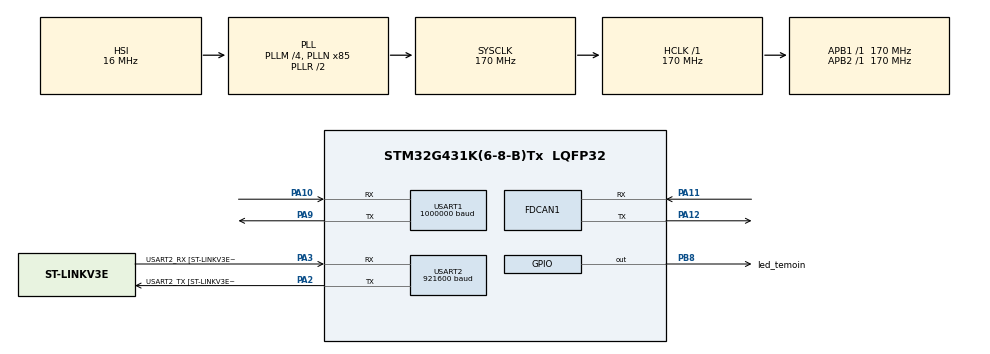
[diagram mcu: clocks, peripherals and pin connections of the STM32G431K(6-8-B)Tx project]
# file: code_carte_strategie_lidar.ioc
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Dma.Request0=USART1_RX
Dma.USART1_RX.0.Direction=DMA_PERIPH_TO_MEMORY
Dma.USART1_RX.0.EventEnable=DISABLE
Dma.USART1_RX.0.Instance=DMA1_Channel1
Dma.USART1_RX.0.MemDataAlignment=DMA_MDATAALIGN_BYTE
Dma.USART1_RX.0.MemInc=DMA_MINC_ENABLE
Dma.USART1_RX.0.Mode=DMA_CIRCULAR
Dma.USART1_RX.0.PeriphDataAlignment=DMA_PDATAALIGN_BYTE
Dma.USART1_RX.0.PeriphInc=DMA_PINC_DISABLE
Dma.USART1_RX.0.Polarity=HAL_DMAMUX_REQ_GEN_RISING
Dma.USART1_RX.0.Priority=DMA_PRIORITY_VERY_HIGH
Dma.USART1_RX.0.RequestNumber=1
Dma.USART1_RX.0.SignalID=NONE
Dma.USART1_RX.0.SyncEnable=DISABLE
Dma.USART1_RX.0.SyncPolarity=HAL_DMAMUX_SYNC_NO_EVENT
Dma.USART1_RX.0.SyncRequestNumber=1
Dma.USART1_RX.0.SyncSignalID=NONE
FDCAN1.CalculateBaudRateNominal=1000000
FDCAN1.CalculateTimeBitNominal=1000
FDCAN1.CalculateTimeQuantumNominal=100.0
FDCAN1.NominalPrescaler=17
FDCAN1.NominalTimeSeg1=7
FDCAN1.NominalTimeSeg2=2
Mcu.Family=STM32G4
Mcu.Name=STM32G431K(6-8-B)Tx
Mcu.Package=LQFP32
NVIC.DMA1_Channel1_IRQn=true\:0\:0\:false\:false\:true\:false\:true\:true
NVIC.FDCAN1_IT0_IRQn=true\:0\:0\:false\:false\:true\:true\:true\:true
NVIC.PriorityGroup=NVIC_PRIORITYGROUP_4
NVIC.USART1_IRQn=true\:0\:0\:false\:false\:true\:true\:true\:true
NVIC.USART2_IRQn=true\:0\:0\:false\:false\:true\:true\:true\:true
PA10.Mode=Asynchronous
PA10.Signal=USART1_RX
PA11.Mode=FDCAN_Activate
PA11.Signal=FDCAN1_RX
PA12.Mode=FDCAN_Activate
PA12.Signal=FDCAN1_TX
PA13.GPIO_Label=T_SWDIO
PA13.Mode=Serial_Wire
PA13.Signal=SYS_JTMS-SWDIO
PA14.GPIO_Label=T_SWCLK
PA14.Mode=Serial_Wire
PA14.Signal=SYS_JTCK-SWCLK
PA2.GPIO_Label=USART2_TX [ST-LINKV3E_VCP_RX]
PA2.Mode=Asynchronous
PA2.Signal=USART2_TX
PA3.GPIO_Label=USART2_RX [ST-LINKV3E_VCP_TX]
PA3.Mode=Asynchronous
PA3.Signal=USART2_RX
PA9.Mode=Asynchronous
PA9.Signal=USART1_TX
PB3.GPIO_Label=T_SWO
PB3.Signal=SYS_JTDO-SWO
PB8-BOOT0.GPIO_Label=led_temoin
PB8-BOOT0.Signal=GPIO_Output
ProjectManager.HeapSize=0x200
ProjectManager.StackSize=0x400
ProjectManager.TargetToolchain=STM32CubeIDE
RCC.ADC12Freq_Value=170000000
RCC.AHBFreq_Value=170000000
RCC.APB1Freq_Value=170000000
RCC.APB1TimFreq_Value=170000000
RCC.APB2Freq_Value=170000000
RCC.APB2TimFreq_Value=170000000
RCC.CortexFreq_Value=170000000
RCC.EXTERNAL_CLOCK_VALUE=12288000
RCC.HCLKFreq_Value=170000000
RCC.HSE_VALUE=8000000
RCC.HSI48_VALUE=48000000
RCC.HSI_VALUE=16000000
RCC.LSE_VALUE=32768
RCC.PLLM=RCC_PLLM_DIV4
RCC.PLLN=85
RCC.SYSCLKFreq_VALUE=170000000
RCC.SYSCLKSource=RCC_SYSCLKSOURCE_PLLCLK
RCC.USBFreq_Value=170000000
RCC.VCOOutputFreq_Value=340000000
USART1.BaudRate=1000000
USART1.SwapParam=ADVFEATURE_SWAP_ENABLE
USART1.VirtualMode-Asynchronous=VM_ASYNC
USART2.BaudRate=921600
USART2.VirtualMode-Asynchronous=VM_ASYNC
USART2.WordLength=WORDLENGTH_8B
VP_SYS_VS_DBSignals.Mode=DisableDeadBatterySignals
board=NUCLEO-G431KB

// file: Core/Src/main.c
/* USER CODE BEGIN Header */
/**
 ******************************************************************************
 * @file           : main.c
 * @brief          : Main program body
 ******************************************************************************
 * @attention
 *
 * Copyright (c) 2024 STMicroelectronics.
 * All rights reserved.
 *
 * This software is licensed under terms that can be found in the LICENSE file
 * in the root directory of this software component.
 * If no LICENSE file comes with this software, it is provided AS-IS.
 *
 ******************************************************************************
 */
/* USER CODE END Header */
#include "main.h"
#include "dma.h"
#include "fdcan.h"
#include "usart.h"
#include "gpio.h"

/* USER CODE BEGIN Includes */
#include <stdio.h>
#include <stdbool.h>
#include <lidar.h>
#include <ihm.h>
#include "test.h"
#include "deplacement.h"
#include "utils.h"
#include "conduite_autonome.h"
/* USER CODE END Includes */

/* USER CODE BEGIN PD */
#define CAN_ID_START_AUTONOMOUS_DRIVING 0x500
#define CAN_ID_STOP_AUTONOMOUS_DRIVING 0x501
#define CAN_ID_FOURCHE_OPTIQUE 27
#define CAN_ID_START_AUTONOMOUS_DRIVING 0x500
#define CAN_ID_STOP_AUTONOMOUS_DRIVING 0x501
#define CAN_ID_AUGMENTER_VITESSE_MOYENNE 0x300
#define CAN_ID_DIMINUER_VITESSE_MOYENNE 0x301
#define CAN_ID_TOF_LEFT_SENSOR 93
#define CAN_ID_TOF_RIGHT_SENSOR 92
#undef TESTS_COMPOSANTS
#undef PRINT_LIDAR_MEASURES
#undef PRINT_HERKULEX_SPEED
#undef DEBUG_CAPTEUR_OBSTACLES
#undef PRINT_VITESSE_LINEAIRE
#define PRINT_VITESSE_MOYENNE_CONSIGNE
/* USER CODE END PD */

/* USER CODE BEGIN PV */
uint8_t flag_reception_uart2 = 0;
uint8_t caractere;
bool is_autonomous_driving_started = 1;

uint32_t capteur_obstacles_gauche = 0;
uint32_t capteur_obstacles_droit = 0;
/* USER CODE END PV */

void SystemClock_Config(void);

/* USER CODE BEGIN 0 */
#define PUTCHAR_PROTOTYPE int __io_putchar(int ch)
PUTCHAR_PROTOTYPE
{
	HAL_UART_Transmit(&huart2, (uint8_t*)&ch, 1, HAL_MAX_DELAY);

	return ch;
}
/* USER CODE END 0 */

int main(void)
{

	/* MCU Configuration--------------------------------------------------------*/

	/* Reset of all peripherals, Initializes the Flash interface and the Systick. */
	HAL_Init();

	/* Configure the system clock */
	SystemClock_Config();

	/* Initialize all configured peripherals */
	MX_GPIO_Init();
	MX_DMA_Init();
	MX_USART2_UART_Init();
	MX_FDCAN1_Init();
	MX_USART1_UART_Init();
	/* USER CODE BEGIN 2 */
	printf("Programme interface LIDAR\n");
	printf("Compile le %s\n", __DATE__);

	HAL_FDCAN_Start(&hfdcan1);
	HAL_FDCAN_ActivateNotification(&hfdcan1, FDCAN_IT_RX_FIFO0_NEW_MESSAGE, 0);
	LCD_clear();

	// Start lidar scan
	/**
	 * @warning L'appel de la fonction lidar_send_reset() fait planter la liaison avec le LiDAR
	 */
	lidar_send_stop();
	HAL_Delay(1000);

	lidar_send_get_health();
	HAL_Delay(1000);

	lidar_send_start_scan();

	HAL_UART_Receive_IT(&PC_HUART, &caractere, 1); // A laisser proche de la boucle while(1)
	/* USER CODE END 2 */

	/* Infinite loop */
	/* USER CODE BEGIN WHILE */
	while (1)
	{
		/**
		 * @todo Les Hal_delays font échouer la reception des commandes par UART
		 */
#ifdef TESTS_COMPOSANTS
		if (!is_autonomous_driving_started)
		{
			JOG_read();
			COD_read();
			automate_decode_IHM();
			test_composants_voiture();
			printf(">cod_value:%d\n", cod_value);
			printf(">jog_value:%d\n", jog_value);
		}
#endif
		lidar_handle_receive_character();

		if (is_autonomous_driving_started)
		{
			conduite_autonome();
		}

		if (command_requested == LIDAR_SCAN_IN_PROGESS)
		{
#ifdef PRINT_LIDAR_MEASURES
			lidar_print_array_distance_teleplot_format(data_lidar_mm_main, 360);
#endif

#ifdef PRINT_HERKULEX_SPEED
			print_angle_herkulex_teleplot();
			print_vitesse_moteur_teleplot();
#endif
		}
		/* USER CODE END WHILE */

	}
}

void SystemClock_Config(void)
{
	RCC_OscInitTypeDef RCC_OscInitStruct = {0};
	RCC_ClkInitTypeDef RCC_ClkInitStruct = {0};

	/** Configure the main internal regulator output voltage
	 */
	HAL_PWREx_ControlVoltageScaling(PWR_REGULATOR_VOLTAGE_SCALE1_BOOST);

	/** Initializes the RCC Oscillators according to the specified parameters
	 * in the RCC_OscInitTypeDef structure.
	 */
	RCC_OscInitStruct.OscillatorType = RCC_OSCILLATORTYPE_HSI;
	RCC_OscInitStruct.HSIState = RCC_HSI_ON;
	RCC_OscInitStruct.HSICalibrationValue = RCC_HSICALIBRATION_DEFAULT;
	RCC_OscInitStruct.PLL.PLLState = RCC_PLL_ON;
	RCC_OscInitStruct.PLL.PLLSource = RCC_PLLSOURCE_HSI;
	RCC_OscInitStruct.PLL.PLLM = RCC_PLLM_DIV4;
	RCC_OscInitStruct.PLL.PLLN = 85;
	RCC_OscInitStruct.PLL.PLLP = RCC_PLLP_DIV2;
	RCC_OscInitStruct.PLL.PLLQ = RCC_PLLQ_DIV2;
	RCC_OscInitStruct.PLL.PLLR = RCC_PLLR_DIV2;
	if (HAL_RCC_OscConfig(&RCC_OscInitStruct) != HAL_OK)
	{
		Error_Handler();
	}

	/** Initializes the CPU, AHB and APB buses clocks
	 */
	RCC_ClkInitStruct.ClockType = RCC_CLOCKTYPE_HCLK|RCC_CLOCKTYPE_SYSCLK
			|RCC_CLOCKTYPE_PCLK1|RCC_CLOCKTYPE_PCLK2;
	RCC_ClkInitStruct.SYSCLKSource = RCC_SYSCLKSOURCE_PLLCLK;
	RCC_ClkInitStruct.AHBCLKDivider = RCC_SYSCLK_DIV1;
	RCC_ClkInitStruct.APB1CLKDivider = RCC_HCLK_DIV1;
	RCC_ClkInitStruct.APB2CLKDivider = RCC_HCLK_DIV1;

	if (HAL_RCC_ClockConfig(&RCC_ClkInitStruct, FLASH_LATENCY_4) != HAL_OK)
	{
		Error_Handler();
	}
}

/* USER CODE BEGIN 4 */
/**
 * @attention La migration du projet vers une version plus récente de Cube IDE ne fait plus fonctionner la réception de trames CAN
 */
void HAL_FDCAN_RxFifo0Callback(FDCAN_HandleTypeDef *hfdcan, uint32_t RxFifo0ITs) {
	HAL_FDCAN_GetRxMessage(&hfdcan1, FDCAN_RX_FIFO0,
			&buffer_trame_rx[marker1].header,
			&buffer_trame_rx[marker1].data[0]);

	switch (buffer_trame_rx[marker1].header.Identifier)
	{
	case CAN_ID_START_AUTONOMOUS_DRIVING:
		printf("START AUTONOMOUS DRIVING\n");
		is_autonomous_driving_started = 1;
		break;

	case CAN_ID_STOP_AUTONOMOUS_DRIVING:
		printf("STOP AUTONOMOUS DRIVING\n");
		is_autonomous_driving_started = 0;
		set_consigne_vitesse(0, 0);
		break;

	case CAN_ID_FOURCHE_OPTIQUE:
		/**
		 * @note Il faudra probablement passer sur une taille de données de deux octets
		 */
		vitesse_lineaire =
				((uint16_t)(buffer_trame_rx[marker1].data[1])|
						(uint16_t)buffer_trame_rx[marker1].data[0] << 8) / 1000.0;
#ifdef PRINT_VITESSE_LINEAIRE
		printf(">vitesse_lineaire:%2.5f\n", vitesse_lineaire);
#endif
		break;

	case CAN_ID_AUGMENTER_VITESSE_MOYENNE:
		vitesse_moyenne += 0.1;
#ifdef PRINT_VITESSE_MOYENNE_CONSIGNE
		printf(">vitesse_moyenne_consigne:%2.5f\n", vitesse_moyenne);
#endif
		break;

	case CAN_ID_DIMINUER_VITESSE_MOYENNE:
		vitesse_moyenne -= 0.1;

		if (vitesse_moyenne < 0)
			vitesse_moyenne = 0;

#ifdef PRINT_VITESSE_MOYENNE_CONSIGNE
		printf(">vitesse_moyenne_consigne:%2.5f\n", vitesse_moyenne);
#endif
		break;

	case CAN_ID_TOF_LEFT_SENSOR:
		capteur_obstacles_gauche =
				(((uint32_t) buffer_trame_rx[marker1].data[2]) << 16)
				| (((uint32_t) buffer_trame_rx[marker1].data[1]) << 8)
				| ((uint32_t) buffer_trame_rx[marker1].data[0]);

#ifdef DEBUG_CAPTEUR_OBSTACLES
		printf(">capteur_obstacles_gauche:%lu|xy\n", capteur_obstacles_gauche);
#endif
		break;

	case CAN_ID_TOF_RIGHT_SENSOR:
		capteur_obstacles_droit =
				(((uint32_t) buffer_trame_rx[marker1].data[2]) << 16)
				| (((uint32_t) buffer_trame_rx[marker1].data[1]) << 8)
				| ((uint32_t) buffer_trame_rx[marker1].data[0]);

#ifdef DEBUG_CAPTEUR_OBSTACLES
		printf(">capteur_obstacles_droit:%lu|xy\n", capteur_obstacles_droit);
#endif
		break;
	}

	marker1++;

	if (marker1 == 32) {
		marker1 = 0;
	}
}

void HAL_UART_RxHalfCpltCallback(UART_HandleTypeDef *huart)
{
	if (huart->Instance == USART1) {
		if (command_requested == LIDAR_SCAN_IN_PROGESS)
		{
			uint16_t angle = 0;
			uint16_t distance = 0;
			bool is_first_scan_point = 0;

			lidar_decode_angle_and_distance(buffer_DMA_scan, &angle, &distance, &is_first_scan_point);

			if (is_first_scan_point == true)
			{
				flag_demi_tour = true;
			}

			if (distance >= 0 && ((angle >= 0 && angle <= 190) || (angle <= 359 && angle >= 349)))
			{
				if (distance == 0 || distance >= 16000)
				{
					data_lidar_mm_main[angle] = 0xFFFF;
				} else {
					data_lidar_mm_main[angle] = distance;
				}

				if (angle == 180 && flag_demi_tour == true)
				{
					flag_demi_tour = false;
					lidar_complete_scan_callback();
				}
			}
		}
	}
}

void HAL_UART_RxCpltCallback(UART_HandleTypeDef *huart)
{
	if (huart->Instance == USART2) {
		flag_reception_uart2 = 1;
		/**
		 * @note Relancer la réception dans l'interruption
		 */
		HAL_UART_Receive_IT(&PC_HUART, &caractere, 1);
	}

	if (huart->Instance == USART1) {
		if (command_requested == LIDAR_GET_INFO)
		{
			printf("Response descriptor GET_INFO\n");
			lidar_decode_get_info(buffer_UART);
		} else if (command_requested == LIDAR_GET_HEALTH)
		{
			printf("Response descriptor GET_HEALTH\n");
			lidar_decode_get_health(buffer_UART);
		} else if (command_requested == LIDAR_START_SCAN)
		{
			printf("Response descriptor SCAN\n");
			command_requested = LIDAR_SCAN_IN_PROGESS;
			HAL_UART_Receive_DMA(&LIDAR_HUART, buffer_DMA_scan, BUFFER_DMA_SIZE);
		} else if (command_requested == LIDAR_GET_SAMPLERATE)
		{
			printf("Response descriptor GET_SAMPLERATE\n");
			/**
			 * @todo Verifer le retour quand le LIDAR est en mode balayage
			 */
			lidar_decode_get_samplerate(buffer_UART);
		} else if (command_requested == LIDAR_SCAN_IN_PROGESS)
		{
			uint16_t angle = 0;
			uint16_t distance = 0;
			bool is_first_scan_point = 0;

			lidar_decode_angle_and_distance(buffer_DMA_scan + 5, &angle, &distance, &is_first_scan_point);

			if (is_first_scan_point == true)
			{
				flag_demi_tour = true;
			}

			if (distance >= 0 && ((angle >= 0 && angle <= 190) || (angle <= 359 && angle >= 349)))
			{
				if (distance == 0 || distance >= 16000)
				{
					data_lidar_mm_main[angle] = 0xFFFF;
				} else {
					data_lidar_mm_main[angle] = distance;
				}

				if (angle == 180 && flag_demi_tour == true)
				{
					flag_demi_tour = false;
					lidar_complete_scan_callback();
				}
			}

		}
	}
}
/* USER CODE END 4 */

void Error_Handler(void)
{
	__disable_irq();
	while (1)
	{
	}
}
